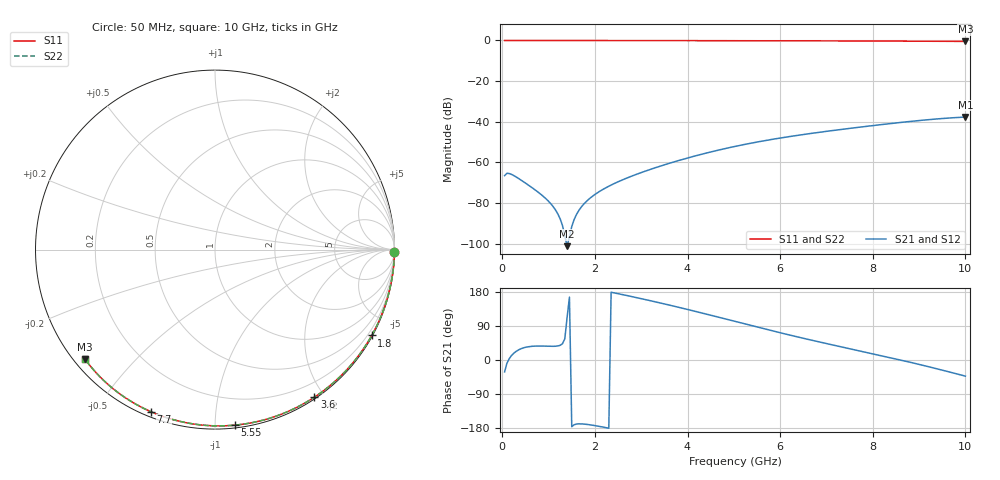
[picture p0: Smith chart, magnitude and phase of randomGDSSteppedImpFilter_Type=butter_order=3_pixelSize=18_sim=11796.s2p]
! freq	dB(S11)	phase(S11)	dB(S12)	phase(S12)
!  dB(S21)	phase(S21)	dB(S22)	phase(S22)
!S-par simulation data
#  GHz  S  DB  R 50
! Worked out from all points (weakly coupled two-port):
!   200 points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, 50 MHz to 10 GHz, reference 50 ohm
!   highest |S21| = -37.71 dB at 10 GHz (marker M1); lowest = -101.3 dB at 1.4 GHz (marker M2)
!   lowest |S11| = -0.5 dB at 10 GHz (marker M3), VSWR 36.79, Z = 1.54 - j18.2 ohm
!   |S11| at or under -10 dB: nowhere
!   |S22| runs from -0.5 to 0.0 dB; largest |S21 - S12| = 0
!   S11 on the Smith chart (normalised r, x): 50 MHz: open; 1.8 GHz: 0.03, -3.91; 3.6 GHz: 0.02, -1.88; 5.55 GHz: 0.02, -1.12; 7.7 GHz: 0.02, -0.68; 10 GHz: 0.03, -0.36
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0.05  -0.00 -0.8  -66.56 -31.3  -66.56 -31.3  -0.00 -0.8
0.1  -0.00 -1.6  -65.41 -8.6  -65.41 -8.6  -0.00 -1.6
0.15  -0.00 -2.4  -65.52 3.5  -65.52 3.5  -0.00 -2.4
0.3  -0.00 -4.9  -67.21 22.9  -67.21 22.9  -0.00 -4.9
0.75  -0.01 -12.1  -74.27 36.8  -74.27 36.8  -0.01 -12.1
1.05  -0.02 -16.9  -80.46 36.1  -80.46 36.1  -0.02 -16.9
1.4  -0.03 -22.4  -101.29 113.1  -101.29 113.1  -0.03 -22.4
1.75  -0.04 -27.9  -80.82 -168.9  -80.82 -168.9  -0.04 -27.9
1.8  -0.04 -28.7  -79.61 -169.5  -79.61 -169.5  -0.04 -28.7
2.05  -0.04 -32.6  -75.05 -174.2  -75.05 -174.2  -0.04 -32.6
2.35  -0.05 -37.2  -71.19 178.8  -71.19 178.8  -0.05 -37.2
2.85  -0.06 -44.8  -66.31 165.9  -66.31 165.9  -0.06 -44.8
3.4  -0.07 -53.1  -61.95 150.8  -61.95 150.8  -0.07 -53.1
3.6  -0.08 -56.0  -60.53 145.1  -60.53 145.1  -0.08 -56.0
4.3  -0.09 -66.2  -56.05 124.4  -56.05 124.4  -0.09 -66.2
5.05  -0.12 -76.7  -52.05 101.1  -52.05 101.1  -0.12 -76.7
5.55  -0.14 -83.6  -49.81 85.5  -49.81 85.5  -0.14 -83.6
6.7  -0.19 -98.8  -45.67 51.7  -45.67 51.7  -0.19 -98.8
7.7  -0.25 -111.6  -42.73 24.5  -42.73 24.5  -0.25 -111.6
8.35  -0.30 -119.7  -41.00 6.9  -41.00 6.9  -0.30 -119.7
9.25  -0.38 -130.8  -38.90 -19.1  -38.90 -19.1  -0.38 -130.7
10  -0.47 -140.0  -37.71 -42.6  -37.71 -42.6  -0.47 -139.9
